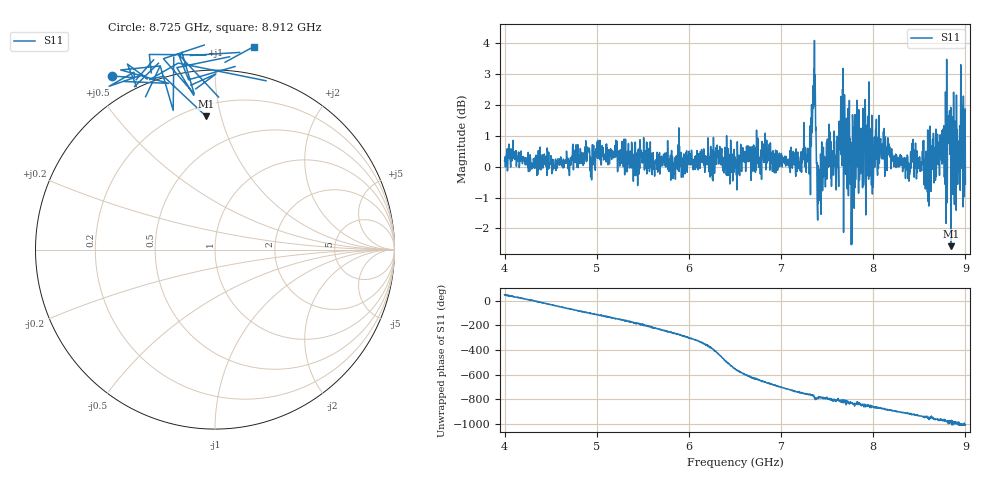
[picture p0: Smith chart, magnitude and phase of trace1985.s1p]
! Created with skrf 1.8.0 (http://scikit-rf.org).
# Hz S RI R 50.0
!freq ReS11 ImS11
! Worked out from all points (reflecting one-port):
!   1601 points, 4 GHz to 9 GHz, reference 50 ohm
!   lowest |S11| = -2.6 dB at 8.844 GHz (marker M1), VSWR 6.80, Z = 13.5 + j44.9 ohm
!   phase of S11 starts at 48 deg and turns -1054 deg over the sweep
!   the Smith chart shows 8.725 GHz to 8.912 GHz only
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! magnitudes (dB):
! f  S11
! 4 GHz  0.2
! 4.625 GHz  0.1
! 5.25 GHz  0.0
! 5.875 GHz  0.4
! 6.331 GHz  0.3
! 6.5 GHz  0.0
! 6.647 GHz  0.6
! 7.125 GHz  0.2
! 7.294 GHz  0.4
! 7.347 GHz  2.6
! 7.366 GHz  2.0
! 7.4 GHz  0.0
! 7.412 GHz  -1.1
! 7.509 GHz  0.3
! 7.606 GHz  0.1
! 7.65 GHz  2.3
! 7.75 GHz  0.9
! 7.775 GHz  1.7
! 7.822 GHz  2.1
! 8.094 GHz  0.7
! 8.375 GHz  0.3
! 8.438 GHz  0.6
! 8.584 GHz  0.3
! 8.634 GHz  0.2
! 8.809 GHz  1.1
! 8.844 GHz  -2.6
! 8.972 GHz  0.6
! 9 GHz  -0.6
